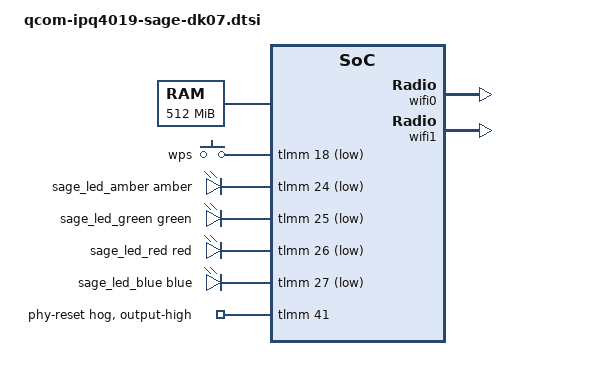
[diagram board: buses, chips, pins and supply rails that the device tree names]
// SPDX-License-Identifier: GPL-2.0-or-later OR MIT

/* Common Cambium Sage AP-DK07.1-C1 hardware baseline. */
#include "qcom-ipq4019-habanero-dvk.dts"

/ {
	/delete-node/ keys;
	/delete-node/ leds;

	aliases {
		label-mac-device = &swport4;
		led-boot = &sage_led_amber;
		led-failsafe = &sage_led_red;
		led-running = &sage_led_green;
		led-upgrade = &sage_led_amber;
	};

	chosen {
		bootargs-append = " clk_ignore_unused";
		stdout-path = &blsp1_uart1;
	};

	memory {
		device_type = "memory";
		reg = <0x80000000 0x20000000>;
	};

	keys {
		compatible = "gpio-keys";

		wps {
			label = "wps";
			gpios = <&tlmm 18 GPIO_ACTIVE_LOW>;
			linux,code = <KEY_WPS_BUTTON>;
		};
	};

	leds {
		compatible = "gpio-leds";

		sage_led_amber: status-amber {
			function = LED_FUNCTION_STATUS;
			color = <LED_COLOR_ID_AMBER>;
			gpios = <&tlmm 24 GPIO_ACTIVE_LOW>;
		};

		sage_led_green: status-green {
			function = LED_FUNCTION_STATUS;
			color = <LED_COLOR_ID_GREEN>;
			gpios = <&tlmm 25 GPIO_ACTIVE_LOW>;
		};

		sage_led_red: status-red {
			function = LED_FUNCTION_STATUS;
			color = <LED_COLOR_ID_RED>;
			gpios = <&tlmm 26 GPIO_ACTIVE_LOW>;
		};

		sage_led_blue: status-blue {
			function = LED_FUNCTION_STATUS;
			color = <LED_COLOR_ID_BLUE>;
			gpios = <&tlmm 27 GPIO_ACTIVE_LOW>;
		};
	};
};

&pcie0 {
	status = "disabled";
};

/* Remove the Habanero-specific firmware lookup while retaining ART data. */
&wifi0 {
	/delete-property/ qcom,ath10k-calibration-variant;
};

&wifi1 {
	/delete-property/ qcom,ath10k-calibration-variant;
};

&tlmm {
	phy_reset: phy-reset {
		gpio-hog;
		line-name = "phy-reset";
		gpios = <41 GPIO_ACTIVE_HIGH>;
		output-high;
	};
};
